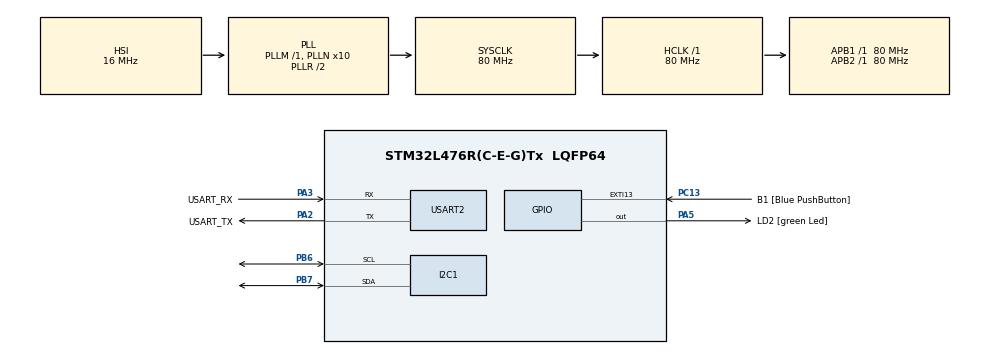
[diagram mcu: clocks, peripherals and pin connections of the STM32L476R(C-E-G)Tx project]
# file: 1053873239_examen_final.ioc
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I2C1.Timing=0x10909CEC
Mcu.Family=STM32L4
Mcu.Name=STM32L476R(C-E-G)Tx
Mcu.Package=LQFP64
NVIC.PriorityGroup=NVIC_PRIORITYGROUP_4
PA13\ (JTMS-SWDIO).GPIO_Label=TMS
PA13\ (JTMS-SWDIO).Mode=Serial_Wire
PA13\ (JTMS-SWDIO).Signal=SYS_JTMS-SWDIO
PA14\ (JTCK-SWCLK).GPIO_Label=TCK
PA14\ (JTCK-SWCLK).Mode=Serial_Wire
PA14\ (JTCK-SWCLK).Signal=SYS_JTCK-SWCLK
PA2.GPIO_Label=USART_TX
PA2.GPIO_Mode=GPIO_MODE_AF_PP
PA2.GPIO_PuPd=GPIO_NOPULL
PA2.GPIO_Speed=GPIO_SPEED_FREQ_VERY_HIGH
PA2.Mode=Asynchronous
PA2.Signal=USART2_TX
PA3.GPIO_Label=USART_RX
PA3.GPIO_Mode=GPIO_MODE_AF_PP
PA3.GPIO_PuPd=GPIO_NOPULL
PA3.GPIO_Speed=GPIO_SPEED_FREQ_VERY_HIGH
PA3.Mode=Asynchronous
PA3.Signal=USART2_RX
PA5.GPIO_Label=LD2 [green Led]
PA5.GPIO_ModeDefaultOutputPP=GPIO_MODE_OUTPUT_PP
PA5.GPIO_PuPd=GPIO_NOPULL
PA5.GPIO_Speed=GPIO_SPEED_FREQ_LOW
PA5.Signal=GPIO_Output
PB3\ (JTDO-TRACESWO).GPIO_Label=SWO
PB3\ (JTDO-TRACESWO).Signal=SYS_JTDO-SWO
PB6.Mode=I2C
PB6.Signal=I2C1_SCL
PB7.Mode=I2C
PB7.Signal=I2C1_SDA
PC13.GPIO_Label=B1 [Blue PushButton]
PC13.GPIO_ModeDefaultEXTI=GPIO_MODE_IT_FALLING
PC13.GPIO_PuPd=GPIO_NOPULL
PC13.Signal=GPXTI13
PC14-OSC32_IN\ (PC14).Mode=LSE-External-Oscillator
PC14-OSC32_IN\ (PC14).Signal=RCC_OSC32_IN
PC15-OSC32_OUT\ (PC15).Mode=LSE-External-Oscillator
PC15-OSC32_OUT\ (PC15).Signal=RCC_OSC32_OUT
PH0-OSC_IN\ (PH0).Signal=RCC_OSC_IN
PH1-OSC_OUT\ (PH1).Signal=RCC_OSC_OUT
ProjectManager.HeapSize=0x200
ProjectManager.StackSize=0x400
ProjectManager.TargetToolchain=STM32CubeIDE
RCC.ADCFreq_Value=64000000
RCC.AHBFreq_Value=80000000
RCC.APB1Freq_Value=80000000
RCC.APB1TimFreq_Value=80000000
RCC.APB2Freq_Value=80000000
RCC.APB2TimFreq_Value=80000000
RCC.CortexFreq_Value=80000000
RCC.HCLKFreq_Value=80000000
RCC.HSE_VALUE=8000000
RCC.HSI_VALUE=16000000
RCC.MSI_VALUE=4000000
RCC.PLLN=10
RCC.PLLSourceVirtual=RCC_PLLSOURCE_HSI
RCC.PREFETCH_ENABLE=1
RCC.SYSCLKFreq_VALUE=80000000
RCC.SYSCLKSource=RCC_SYSCLKSOURCE_PLLCLK
RCC.USBFreq_Value=64000000
RCC.VCOOutputFreq_Value=160000000
USART2.VirtualMode-Asynchronous=VM_ASYNC
board=NUCLEO-L476RG

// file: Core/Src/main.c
/* USER CODE BEGIN Header */
/**
  ******************************************************************************
  * @file           : main.c
  * @brief          : Main program body
  ******************************************************************************
  * @attention
  *
  * Copyright (c) 2023 STMicroelectronics.
  * All rights reserved.
  *
  * This software is licensed under terms that can be found in the LICENSE file
  * in the root directory of this software component.
  * If no LICENSE file comes with this software, it is provided AS-IS.
  *
  ******************************************************************************
  */
/* USER CODE END Header */
#include "main.h"

/* USER CODE BEGIN Includes */
#include <stdio.h>
#include <string.h>

#include "ring_buffer.h"

#include "ssd1306.h"

/* USER CODE END Includes */

I2C_HandleTypeDef hi2c1;

UART_HandleTypeDef huart2;

/* USER CODE BEGIN PV */
ring_buffer_t ring_buffer_uart_rx;
uint8_t rx_buffer[16];
uint8_t rx_data;

uint16_t key_event = 0xFF;

ring_buffer_t ring_buffer_keypad;
uint8_t keypad_buffer[5];
/* USER CODE END PV */

void SystemClock_Config(void);
static void MX_GPIO_Init(void);
static void MX_USART2_UART_Init(void);
static void MX_I2C1_Init(void);

/* USER CODE BEGIN 0 */

int _write(int file, char *ptr, int len)
{
	HAL_UART_Transmit(&huart2, (uint8_t *)ptr, len, HAL_MAX_DELAY);
		   return len;

  return len;
}
/**
  * @brief  Rx Transfer completed callback.
  * @param  huart UART handle.
  * @retval None
  */
void Custom_USART2_RxCallBack(void)
{
//	uint8_t rx_data = LL_USART_ReadReg(USART2, RDR);
    if (ring_buffer_put(&ring_buffer_uart_rx, rx_data) == 0) {
		printf("Rx buffer is full\r\n");
	}

}

/**
  * @brief  EXTI line detection callback.
  * @param  GPIO_Pin Specifies the port pin connected
  *         to corresponding EXTI line.
  * @retval None
  */
void HAL_GPIO_EXTI_Callback(uint16_t GPIO_Pin)
{
	key_event = GPIO_Pin;
}

void validate_sequence(void)
{
	printf("Validating\r\n");
	uint8_t birth_date[5] = "1992#";
	uint8_t sequence[5];
	for (uint8_t idx = 0; idx < 5; idx++) {
	  ring_buffer_get(&ring_buffer_keypad, &sequence[idx]);
	}
	if (memcmp(birth_date, sequence, 5) == 0) {
	  ssd1306_SetCursor(20, 20);
	  ssd1306_WriteString("Pass", Font_16x26, White);
	} else {
	  ssd1306_SetCursor(20, 20);
	  ssd1306_WriteString("Fail", Font_16x26, White);
	}
	ssd1306_UpdateScreen();
}
UART_HandleTypeDef huart2;

/* USER CODE BEGIN PV */

/* USER CODE END PV */

/* Private function prototypes -----------------------------------------------*/
void SystemClock_Config(void);
static void MX_GPIO_Init(void);
static void MX_USART2_UART_Init(void);
/* USER CODE BEGIN PFP */

/* USER CODE END PFP */

/* Private user code ---------------------------------------------------------*/
/* USER CODE BEGIN 0 */

/* USER CODE END 0 */

int main(void)
{

  /* MCU Configuration--------------------------------------------------------*/

  /* Reset of all peripherals, Initializes the Flash interface and the Systick. */
  HAL_Init();

  /* Configure the system clock */
  SystemClock_Config();

  /* Initialize all configured peripherals */
  MX_GPIO_Init();
  MX_USART2_UART_Init();
  MX_I2C1_Init();
  /* USER CODE BEGIN 2 */
    // Inicialización de búferes circulares para UART y teclado.
    ring_buffer_init(&ring_buffer_uart_rx, rx_buffer, 16);
    ring_buffer_init(&ring_buffer_keypad, keypad_buffer, 5);

    // Habilitación de interrupciones de recepción USART2.
//   LL_USART_EnableIT_RXNE(USART2);

   // Inicialización de la pantalla OLED SSD1306 y borrado de la pantalla.
     ssd1306_Init();
     ssd1306_Fill(Black);

     // Mostrar el mensaje "Waiting" en la pantalla OLED.
     ssd1306_SetCursor(20, 20);
     ssd1306_WriteString("Waiting", Font_16x26, White);
     ssd1306_UpdateScreen();

  /* USER CODE BEGIN 2 */

  /* USER CODE END 2 */

  /* Infinite loop */
  /* USER CODE BEGIN WHILE */

     /* Entrar en el bucle principal (modo normal) */
  while (1)
  {
	  HAL_Delay(100);
    /* USER CODE END WHILE */

  }
}

void SystemClock_Config(void)
{
  RCC_OscInitTypeDef RCC_OscInitStruct = {0};
  RCC_ClkInitTypeDef RCC_ClkInitStruct = {0};

  /** Configure the main internal regulator output voltage
  */
  if (HAL_PWREx_ControlVoltageScaling(PWR_REGULATOR_VOLTAGE_SCALE1) != HAL_OK)
  {
    Error_Handler();
  }

  /** Initializes the RCC Oscillators according to the specified parameters
  * in the RCC_OscInitTypeDef structure.
  */
  RCC_OscInitStruct.OscillatorType = RCC_OSCILLATORTYPE_HSI;
  RCC_OscInitStruct.HSIState = RCC_HSI_ON;
  RCC_OscInitStruct.HSICalibrationValue = RCC_HSICALIBRATION_DEFAULT;
  RCC_OscInitStruct.PLL.PLLState = RCC_PLL_ON;
  RCC_OscInitStruct.PLL.PLLSource = RCC_PLLSOURCE_HSI;
  RCC_OscInitStruct.PLL.PLLM = 1;
  RCC_OscInitStruct.PLL.PLLN = 10;
  RCC_OscInitStruct.PLL.PLLP = RCC_PLLP_DIV7;
  RCC_OscInitStruct.PLL.PLLQ = RCC_PLLQ_DIV2;
  RCC_OscInitStruct.PLL.PLLR = RCC_PLLR_DIV2;
  if (HAL_RCC_OscConfig(&RCC_OscInitStruct) != HAL_OK)
  {
    Error_Handler();
  }

  /** Initializes the CPU, AHB and APB buses clocks
  */
  RCC_ClkInitStruct.ClockType = RCC_CLOCKTYPE_HCLK|RCC_CLOCKTYPE_SYSCLK
                              |RCC_CLOCKTYPE_PCLK1|RCC_CLOCKTYPE_PCLK2;
  RCC_ClkInitStruct.SYSCLKSource = RCC_SYSCLKSOURCE_PLLCLK;
  RCC_ClkInitStruct.AHBCLKDivider = RCC_SYSCLK_DIV1;
  RCC_ClkInitStruct.APB1CLKDivider = RCC_HCLK_DIV1;
  RCC_ClkInitStruct.APB2CLKDivider = RCC_HCLK_DIV1;

  if (HAL_RCC_ClockConfig(&RCC_ClkInitStruct, FLASH_LATENCY_4) != HAL_OK)
  {
    Error_Handler();
  }
}

static void MX_I2C1_Init(void)
{

  hi2c1.Instance = I2C1;
  hi2c1.Init.Timing = 0x10909CEC;
  hi2c1.Init.OwnAddress1 = 0;
  hi2c1.Init.AddressingMode = I2C_ADDRESSINGMODE_7BIT;
  hi2c1.Init.DualAddressMode = I2C_DUALADDRESS_DISABLE;
  hi2c1.Init.OwnAddress2 = 0;
  hi2c1.Init.OwnAddress2Masks = I2C_OA2_NOMASK;
  hi2c1.Init.GeneralCallMode = I2C_GENERALCALL_DISABLE;
  hi2c1.Init.NoStretchMode = I2C_NOSTRETCH_DISABLE;
  if (HAL_I2C_Init(&hi2c1) != HAL_OK)
  {
    Error_Handler();
  }

  /** Configure Analogue filter
  */
  if (HAL_I2CEx_ConfigAnalogFilter(&hi2c1, I2C_ANALOGFILTER_ENABLE) != HAL_OK)
  {
    Error_Handler();
  }

  /** Configure Digital filter
  */
  if (HAL_I2CEx_ConfigDigitalFilter(&hi2c1, 0) != HAL_OK)
  {
    Error_Handler();
  }

}

static void MX_USART2_UART_Init(void)
{

  huart2.Instance = USART2;
  huart2.Init.BaudRate = 115200;
  huart2.Init.WordLength = UART_WORDLENGTH_8B;
  huart2.Init.StopBits = UART_STOPBITS_1;
  huart2.Init.Parity = UART_PARITY_NONE;
  huart2.Init.Mode = UART_MODE_TX_RX;
  huart2.Init.HwFlowCtl = UART_HWCONTROL_NONE;
  huart2.Init.OverSampling = UART_OVERSAMPLING_16;
  huart2.Init.OneBitSampling = UART_ONE_BIT_SAMPLE_DISABLE;
  huart2.AdvancedInit.AdvFeatureInit = UART_ADVFEATURE_NO_INIT;
  if (HAL_UART_Init(&huart2) != HAL_OK)
  {
    Error_Handler();
  }

}

static void MX_GPIO_Init(void)
{
  GPIO_InitTypeDef GPIO_InitStruct = {0};

  /* GPIO Ports Clock Enable */
  __HAL_RCC_GPIOC_CLK_ENABLE();
  __HAL_RCC_GPIOH_CLK_ENABLE();
  __HAL_RCC_GPIOA_CLK_ENABLE();
  __HAL_RCC_GPIOB_CLK_ENABLE();

  /*Configure GPIO pin Output Level */
  HAL_GPIO_WritePin(LD2_GPIO_Port, LD2_Pin, GPIO_PIN_RESET);

  /*Configure GPIO pin : B1_Pin */
  GPIO_InitStruct.Pin = B1_Pin;
  GPIO_InitStruct.Mode = GPIO_MODE_IT_FALLING;
  GPIO_InitStruct.Pull = GPIO_NOPULL;
  HAL_GPIO_Init(B1_GPIO_Port, &GPIO_InitStruct);

  /*Configure GPIO pin : LD2_Pin */
  GPIO_InitStruct.Pin = LD2_Pin;
  GPIO_InitStruct.Mode = GPIO_MODE_OUTPUT_PP;
  GPIO_InitStruct.Pull = GPIO_NOPULL;
  GPIO_InitStruct.Speed = GPIO_SPEED_FREQ_LOW;
  HAL_GPIO_Init(LD2_GPIO_Port, &GPIO_InitStruct);

}

void Error_Handler(void)
{
  __disable_irq();
  while (1)
  {
  }
}
